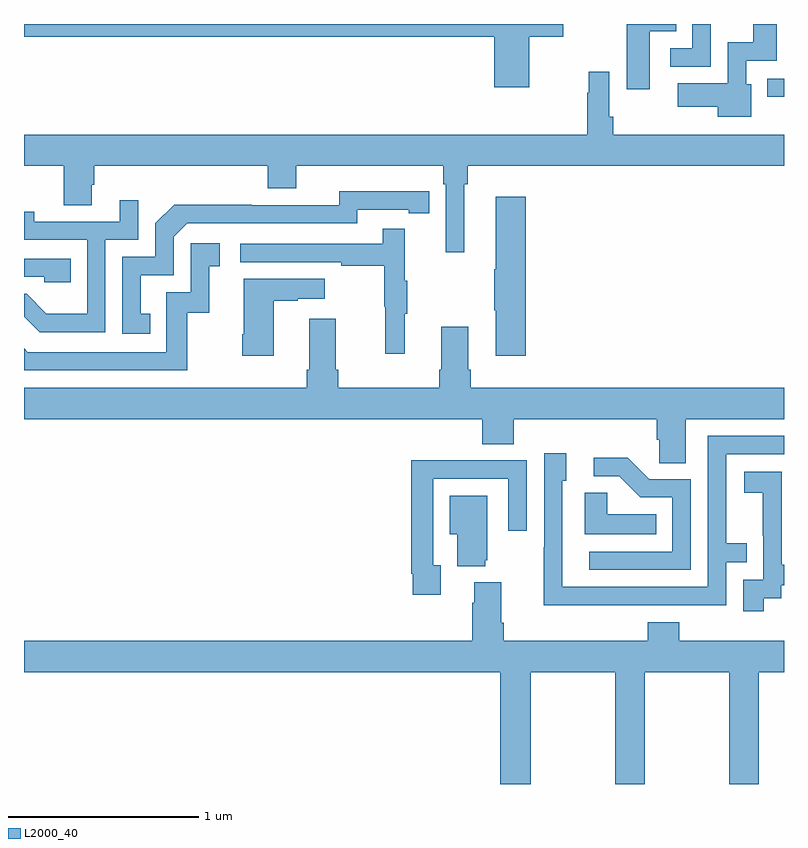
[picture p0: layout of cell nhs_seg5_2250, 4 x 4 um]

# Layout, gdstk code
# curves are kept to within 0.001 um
import gdstk
lib = gdstk.Library(unit=1e-6, precision=1e-09)
def R(c, l, rs):  # rectangles x0, y0, x1, y1
    for r in rs: c.add(gdstk.rectangle(r[:2], r[2:], *l))
def P(c, l, *ps):  # polygons
    for p in ps: c.add(gdstk.Polygon(p, *l))
L2000_40 = (2000, 40)

nhs_seg5_2250 = lib.new_cell('nhs_seg5_2250')
R(nhs_seg5_2250, L2000_40, [(244.913,898.415,245,898.512)])
P(nhs_seg5_2250, L2000_40, [(244.294,898.76),(244.433,898.76),(244.433,898.799),(244.172,898.799),(244.172,898.455),(244.294,898.455)],
  [(244.614,898.799),(244.518,898.799),(244.518,898.671),(244.401,898.671),(244.401,898.575),(244.614,898.575)],
  [(243.659,898.732),(243.837,898.732),(243.837,898.799),(241,898.799),(241,898.732),(243.476,898.732),(243.476,898.467),(243.659,898.467)],
  [(244.828,898.482),(244.8,898.482),(244.8,898.605),(244.963,898.605),(244.963,898.799),(244.838,898.799),(244.838,898.702),(244.704,898.702),(244.704,898.486),(244.44,898.486),(244.44,898.364),(244.652,898.364),(244.652,898.31),(244.828,898.31)],
  [(243.316,897.956),(243.335,897.956),(243.335,898.052),(245,898.052),(245,898.216),(244.1,898.216),(244.1,898.312),(244.08,898.312),(244.08,898.549),(243.972,898.549),(243.972,898.436),(243.964,898.436),(243.964,898.216),(241,898.216),(241,898.052),(241.21,898.052),(241.21,897.844),(241.357,897.844),(241.357,897.954),(241.37,897.954),(241.37,898.052),(242.282,898.052),(242.282,897.935),(242.434,897.935),(242.434,898.052),(243.206,898.052),(243.206,897.956),(243.219,897.956),(243.219,897.597),(243.316,897.597)],
  [(241.664,897.273),(241.615,897.273),(241.615,897.477),(241.788,897.477),(241.788,897.678),(241.86,897.75),(242.754,897.75),(242.754,897.822),(243.026,897.822),(243.026,897.802),(243.134,897.802),(243.134,897.918),(242.658,897.919),(242.658,897.846),(242.198,897.846),(242.198,897.848),(241.79,897.848),(241.692,897.75),(241.692,897.573),(241.518,897.573),(241.518,897.168),(241.664,897.168)],
  [(243.641,897.889),(243.482,897.889),(243.482,897.509),(243.475,897.509),(243.475,897.292),(243.482,897.292),(243.482,897.054),(243.641,897.054)],
  [(241.428,897.663),(241.602,897.663),(241.602,897.871),(241.505,897.871),(241.505,897.759),(241.054,897.759),(241.054,897.811),(241,897.811),(241,897.663),(241.332,897.663),(241.332,897.274),(241.118,897.274),(241.014,897.378),(241,897.378),(241,897.259),(241.082,897.177),(241.428,897.177)],
  [(243.005,897.275),(243.016,897.275),(243.016,897.449),(243.005,897.449),(243.005,897.721),(242.887,897.721),(242.887,897.642),(242.139,897.642),(242.139,897.546),(242.671,897.546),(242.671,897.526),(242.895,897.526),(242.895,897.312),(242.902,897.312),(242.902,897.063),(243.005,897.063)],
  [(241.858,897.279),(241.976,897.279),(241.976,897.525),(242.029,897.525),(242.029,897.646),(241.878,897.646),(241.878,897.387),(241.749,897.387),(241.749,897.072),(241.02,897.072),(241,897.092),(241,896.976),(241.858,896.976)],
  [(241.247,897.564),(241,897.564),(241,897.468),(241.107,897.468),(241.107,897.441),(241.247,897.441)],
  [(242.314,897.343),(242.441,897.343),(242.441,897.353),(242.584,897.353),(242.584,897.457),(242.156,897.457),(242.156,897.166),(242.149,897.166),(242.149,897.054),(242.314,897.054)],
  [(242.641,896.98),(242.641,897.247),(242.501,897.247),(242.501,896.98),(242.489,896.98),(242.489,896.884),(241,896.884),(241,896.72),(243.413,896.72),(243.413,896.587),(243.578,896.587),(243.578,896.72),(244.331,896.72),(244.331,896.611),(244.344,896.611),(244.344,896.488),(244.483,896.488),(244.483,896.72),(245,896.72),(245,896.884),(243.35,896.884),(243.35,896.98),(243.337,896.98),(243.337,897.205),(243.197,897.205),(243.197,896.98),(243.185,896.98),(243.185,896.884),(242.654,896.884),(242.654,896.98)],
  [(244.199,895.74),(244.695,895.74),(244.695,895.965),(244.805,895.965),(244.805,896.066),(244.695,896.066),(244.695,896.535),(245,896.535),(245,896.631),(244.599,896.631),(244.599,895.836),(243.834,895.836),(243.834,896.394),(243.853,896.394),(243.853,896.539),(243.738,896.539),(243.738,896.045),(243.736,896.045),(243.736,895.739),(244.199,895.739)],
  [(244.509,896.403),(244.29,896.403),(244.177,896.516),(243.999,896.516),(243.999,896.418),(244.133,896.418),(244.244,896.307),(244.413,896.307),(244.413,896.022),(243.975,896.022),(243.975,895.926),(244.509,895.926)],
  [(243.193,895.95),(243.153,895.95),(243.153,896.406),(243.549,896.406),(243.549,896.133),(243.645,896.133),(243.645,896.502),(243.329,896.502),(243.329,896.504),(243.037,896.504),(243.037,895.906),(243.045,895.906),(243.045,895.794),(243.193,895.794)],
  [(244.894,895.777),(244.986,895.777),(244.986,895.845),(245,895.845),(245,895.954),(244.988,895.954),(244.988,896.237),(244.989,896.237),(244.989,896.443),(244.791,896.443),(244.791,896.333),(244.889,896.333),(244.889,896.105),(244.89,896.105),(244.89,895.875),(244.785,895.875),(244.785,895.707),(244.894,895.707)],
  [(244.328,896.218),(244.071,896.218),(244.071,896.333),(243.95,896.333),(243.95,896.114),(244.328,896.114)],
  [(243.428,895.977),(243.439,895.977),(243.439,896.317),(243.242,896.317),(243.242,896.114),(243.281,896.114),(243.281,895.946),(243.428,895.946)],
  [(243.666,895.388),(244.111,895.388),(244.111,894.799),(244.266,894.799),(244.266,895.388),(244.711,895.388),(244.711,894.799),(244.866,894.799),(244.866,895.388),(245,895.388),(245,895.552),(244.448,895.552),(244.448,895.651),(244.283,895.651),(244.283,895.552),(243.524,895.552),(243.524,895.648),(243.511,895.648),(243.511,895.861),(243.371,895.861),(243.371,895.754),(243.359,895.754),(243.359,895.552),(241,895.552),(241,895.388),(243.506,895.388),(243.506,894.799),(243.666,894.799)])

lib.write_gds('nhs_seg5_2250.gds')
